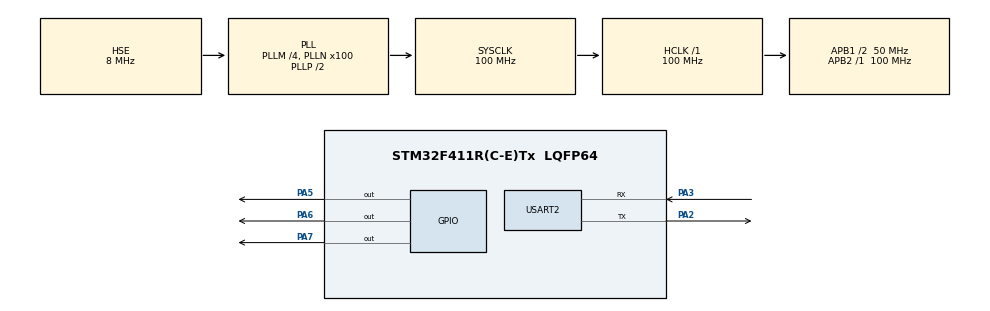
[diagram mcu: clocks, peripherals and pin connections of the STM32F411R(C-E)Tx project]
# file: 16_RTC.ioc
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Mcu.Family=STM32F4
Mcu.Name=STM32F411R(C-E)Tx
Mcu.Package=LQFP64
NVIC.PriorityGroup=NVIC_PRIORITYGROUP_4
PA13.Mode=Serial_Wire
PA13.Signal=SYS_JTMS-SWDIO
PA14.Mode=Serial_Wire
PA14.Signal=SYS_JTCK-SWCLK
PA2.Mode=Asynchronous
PA2.Signal=USART2_TX
PA3.Mode=Asynchronous
PA3.Signal=USART2_RX
PA5.GPIO_Speed=GPIO_SPEED_FREQ_LOW
PA5.Signal=GPIO_Output
PA6.GPIO_Speed=GPIO_SPEED_FREQ_LOW
PA6.Signal=GPIO_Output
PA7.GPIO_Speed=GPIO_SPEED_FREQ_LOW
PA7.Signal=GPIO_Output
PH0\ -\ OSC_IN.Mode=HSE-External-Oscillator
PH0\ -\ OSC_IN.Signal=RCC_OSC_IN
PH1\ -\ OSC_OUT.Mode=HSE-External-Oscillator
PH1\ -\ OSC_OUT.Signal=RCC_OSC_OUT
ProjectManager.HeapSize=0x200
ProjectManager.StackSize=0x400
ProjectManager.TargetToolchain=STM32CubeIDE
RCC.48MHZClocksFreq_Value=50000000
RCC.AHBFreq_Value=100000000
RCC.APB1CLKDivider=RCC_HCLK_DIV2
RCC.APB1Freq_Value=50000000
RCC.APB1TimFreq_Value=100000000
RCC.APB2Freq_Value=100000000
RCC.APB2TimFreq_Value=100000000
RCC.CortexFreq_Value=100000000
RCC.HCLKFreq_Value=100000000
RCC.HSE_VALUE=8000000
RCC.HSI_VALUE=16000000
RCC.LSE_VALUE=32768
RCC.PLLM=4
RCC.PLLN=100
RCC.PLLSourceVirtual=RCC_PLLSOURCE_HSE
RCC.SYSCLKFreq_VALUE=100000000
RCC.SYSCLKSource=RCC_SYSCLKSOURCE_PLLCLK
RCC.VCOOutputFreq_Value=200000000
USART2.VirtualMode=VM_ASYNC
board=custom

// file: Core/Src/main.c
/* USER CODE BEGIN Header */
/**
  ******************************************************************************
  * @file           : main.c
  * @brief          : Main program body
  ******************************************************************************
  * @attention
  *
  * Copyright (c) 2025 STMicroelectronics.
  * All rights reserved.
  *
  * This software is licensed under terms that can be found in the LICENSE file
  * in the root directory of this software component.
  * If no LICENSE file comes with this software, it is provided AS-IS.
  *
  ******************************************************************************
  */
/* USER CODE END Header */
#include "main.h"
#include "usart.h"
#include "gpio.h"

/* USER CODE BEGIN Includes */
#include <stdio.h>
#include "rtc.h"
/* USER CODE END Includes */

/* USER CODE BEGIN PV */
uint8_t rtcValue;
uint8_t rtcSec, rtcMin, rtcHour;
uint8_t rtcDate, rtcMonth, rtcDay, rtcYear;
char* rtcDays[8] = {
		"Day", "Sun", "Mon", "Tue", "Wed", "Thu", "Fri", "Sat"
};
/* USER CODE END PV */

void SystemClock_Config(void);
/* USER CODE BEGIN PFP */
// printf 같은 함수 출력 → UART Redirection
int _write(int file, unsigned char* p, int len) {
    HAL_StatusTypeDef status = HAL_UART_Transmit(&huart2, p, len, 100);
    return (status == HAL_OK ? len : 0);
}

uint8_t bcd2dec(uint8_t bcd) {
    return ((bcd >> 4) * 10) + (bcd & 0x0F);
}
/* USER CODE END PFP */

int main(void)
{

  /* MCU Configuration--------------------------------------------------------*/

  /* Reset of all peripherals, Initializes the Flash interface and the Systick. */
  HAL_Init();

  /* Configure the system clock */
  SystemClock_Config();

  /* Initialize all configured peripherals */
  MX_GPIO_Init();
  MX_USART2_UART_Init();
  /* USER CODE BEGIN 2 */
  // Write Protect Bit Clear
//  HAL_GPIO_WritePin(RTC_RST_PORT, RTC_RST_PIN, GPIO_PIN_SET);
//  HAL_Delay(1);
//  rtcWrite(RTC_CLK_PORT, RTC_CLK_PIN, RTC_DAT_PORT, RTC_DAT_PIN, 0x8E);
//  rtcWrite(RTC_CLK_PORT, RTC_CLK_PIN, RTC_DAT_PORT, RTC_DAT_PIN, 0x00);
//  HAL_GPIO_WritePin(RTC_RST_PORT, RTC_RST_PIN, GPIO_PIN_RESET);
//  HAL_Delay(1);
//
//  // Year, Month, Date, Day, Hour, Minute, Second Setting
//  HAL_GPIO_WritePin(RTC_RST_PORT, RTC_RST_PIN, GPIO_PIN_SET);
//  HAL_Delay(1);
//  rtcWrite(RTC_CLK_PORT, RTC_CLK_PIN, RTC_DAT_PORT, RTC_DAT_PIN, WRITE_SEC);
//  rtcWrite(RTC_CLK_PORT, RTC_CLK_PIN, RTC_DAT_PORT, RTC_DAT_PIN, 0x00);
//  HAL_GPIO_WritePin(RTC_RST_PORT, RTC_RST_PIN, GPIO_PIN_RESET);
//
//  HAL_GPIO_WritePin(RTC_RST_PORT, RTC_RST_PIN, GPIO_PIN_SET);
//  HAL_Delay(1);
//  rtcWrite(RTC_CLK_PORT, RTC_CLK_PIN, RTC_DAT_PORT, RTC_DAT_PIN, WRITE_MIN);
//  rtcWrite(RTC_CLK_PORT, RTC_CLK_PIN, RTC_DAT_PORT, RTC_DAT_PIN, 0x10);
//  HAL_GPIO_WritePin(RTC_RST_PORT, RTC_RST_PIN, GPIO_PIN_RESET);
//
//  HAL_GPIO_WritePin(RTC_RST_PORT, RTC_RST_PIN, GPIO_PIN_SET);
//  HAL_Delay(1);
//  rtcWrite(RTC_CLK_PORT, RTC_CLK_PIN, RTC_DAT_PORT, RTC_DAT_PIN, WRITE_HOUR);
//  rtcWrite(RTC_CLK_PORT, RTC_CLK_PIN, RTC_DAT_PORT, RTC_DAT_PIN, 0x12);
//  HAL_GPIO_WritePin(RTC_RST_PORT, RTC_RST_PIN, GPIO_PIN_RESET);
//
//  HAL_GPIO_WritePin(RTC_RST_PORT, RTC_RST_PIN, GPIO_PIN_SET);
//  HAL_Delay(1);
//  rtcWrite(RTC_CLK_PORT, RTC_CLK_PIN, RTC_DAT_PORT, RTC_DAT_PIN, WRITE_DATE);
//  rtcWrite(RTC_CLK_PORT, RTC_CLK_PIN, RTC_DAT_PORT, RTC_DAT_PIN, 0x18);
//  HAL_GPIO_WritePin(RTC_RST_PORT, RTC_RST_PIN, GPIO_PIN_RESET);
//
//  HAL_GPIO_WritePin(RTC_RST_PORT, RTC_RST_PIN, GPIO_PIN_SET);
//  HAL_Delay(1);
//  rtcWrite(RTC_CLK_PORT, RTC_CLK_PIN, RTC_DAT_PORT, RTC_DAT_PIN, WRITE_MONTH);
//  rtcWrite(RTC_CLK_PORT, RTC_CLK_PIN, RTC_DAT_PORT, RTC_DAT_PIN, 0x09);
//  HAL_GPIO_WritePin(RTC_RST_PORT, RTC_RST_PIN, GPIO_PIN_RESET);
//
//  HAL_GPIO_WritePin(RTC_RST_PORT, RTC_RST_PIN, GPIO_PIN_SET);
//  HAL_Delay(1);
//  rtcWrite(RTC_CLK_PORT, RTC_CLK_PIN, RTC_DAT_PORT, RTC_DAT_PIN, WRITE_DAY);
//  rtcWrite(RTC_CLK_PORT, RTC_CLK_PIN, RTC_DAT_PORT, RTC_DAT_PIN, 0x05);
//  HAL_GPIO_WritePin(RTC_RST_PORT, RTC_RST_PIN, GPIO_PIN_RESET);
//
//  HAL_GPIO_WritePin(RTC_RST_PORT, RTC_RST_PIN, GPIO_PIN_SET);
//  HAL_Delay(1);
//  rtcWrite(RTC_CLK_PORT, RTC_CLK_PIN, RTC_DAT_PORT, RTC_DAT_PIN, WRITE_YEAR);
//  rtcWrite(RTC_CLK_PORT, RTC_CLK_PIN, RTC_DAT_PORT, RTC_DAT_PIN, 0x25);
//  HAL_GPIO_WritePin(RTC_RST_PORT, RTC_RST_PIN, GPIO_PIN_RESET);
  /* USER CODE END 2 */

  /* Infinite loop */
  /* USER CODE BEGIN WHILE */
  while (1)
  {
	  HAL_GPIO_WritePin(RTC_RST_PORT, RTC_RST_PIN, GPIO_PIN_SET);
	  rtcWrite(RTC_CLK_PORT, RTC_CLK_PIN, RTC_DAT_PORT, RTC_DAT_PIN, READ_SEC);
	  rtcValue = rtcRead(RTC_CLK_PORT, RTC_CLK_PIN, RTC_DAT_PORT, RTC_DAT_PIN);
	  rtcSec = bcd2dec(rtcValue);
	  HAL_GPIO_WritePin(RTC_RST_PORT, RTC_RST_PIN, GPIO_PIN_RESET);

	  HAL_GPIO_WritePin(RTC_RST_PORT, RTC_RST_PIN, GPIO_PIN_SET);
	  rtcWrite(RTC_CLK_PORT, RTC_CLK_PIN, RTC_DAT_PORT, RTC_DAT_PIN, READ_MIN);
	  rtcValue = rtcRead(RTC_CLK_PORT, RTC_CLK_PIN, RTC_DAT_PORT, RTC_DAT_PIN);
	  rtcMin = bcd2dec(rtcValue);
	  HAL_GPIO_WritePin(RTC_RST_PORT, RTC_RST_PIN, GPIO_PIN_RESET);

	  HAL_GPIO_WritePin(RTC_RST_PORT, RTC_RST_PIN, GPIO_PIN_SET);
	  rtcWrite(RTC_CLK_PORT, RTC_CLK_PIN, RTC_DAT_PORT, RTC_DAT_PIN, READ_HOUR);
	  rtcValue = rtcRead(RTC_CLK_PORT, RTC_CLK_PIN, RTC_DAT_PORT, RTC_DAT_PIN);
	  rtcHour = bcd2dec(rtcValue);
	  HAL_GPIO_WritePin(RTC_RST_PORT, RTC_RST_PIN, GPIO_PIN_RESET);

	  HAL_GPIO_WritePin(RTC_RST_PORT, RTC_RST_PIN, GPIO_PIN_SET);
	  rtcWrite(RTC_CLK_PORT, RTC_CLK_PIN, RTC_DAT_PORT, RTC_DAT_PIN, READ_DATE);
	  rtcValue = rtcRead(RTC_CLK_PORT, RTC_CLK_PIN, RTC_DAT_PORT, RTC_DAT_PIN);
	  rtcDate = bcd2dec(rtcValue);
	  HAL_GPIO_WritePin(RTC_RST_PORT, RTC_RST_PIN, GPIO_PIN_RESET);

	  HAL_GPIO_WritePin(RTC_RST_PORT, RTC_RST_PIN, GPIO_PIN_SET);
	  rtcWrite(RTC_CLK_PORT, RTC_CLK_PIN, RTC_DAT_PORT, RTC_DAT_PIN, READ_MONTH);
	  rtcValue = rtcRead(RTC_CLK_PORT, RTC_CLK_PIN, RTC_DAT_PORT, RTC_DAT_PIN);
	  rtcMonth = bcd2dec(rtcValue);
	  HAL_GPIO_WritePin(RTC_RST_PORT, RTC_RST_PIN, GPIO_PIN_RESET);

	  HAL_GPIO_WritePin(RTC_RST_PORT, RTC_RST_PIN, GPIO_PIN_SET);
	  rtcWrite(RTC_CLK_PORT, RTC_CLK_PIN, RTC_DAT_PORT, RTC_DAT_PIN, READ_DAY);
	  rtcValue = rtcRead(RTC_CLK_PORT, RTC_CLK_PIN, RTC_DAT_PORT, RTC_DAT_PIN);
	  rtcDay = rtcValue;
	  HAL_GPIO_WritePin(RTC_RST_PORT, RTC_RST_PIN, GPIO_PIN_RESET);

	  HAL_GPIO_WritePin(RTC_RST_PORT, RTC_RST_PIN, GPIO_PIN_SET);
	  rtcWrite(RTC_CLK_PORT, RTC_CLK_PIN, RTC_DAT_PORT, RTC_DAT_PIN, READ_YEAR);
	  rtcValue = rtcRead(RTC_CLK_PORT, RTC_CLK_PIN, RTC_DAT_PORT, RTC_DAT_PIN);
	  rtcYear = bcd2dec(rtcValue);
	  HAL_GPIO_WritePin(RTC_RST_PORT, RTC_RST_PIN, GPIO_PIN_RESET);

	  printf("20%02d-%02d-%02d(%s) %02d:%02d:%02d\r\n",
			  rtcYear, rtcMonth, rtcDate, rtcDays[rtcDay], rtcHour, rtcMin, rtcSec);
	  HAL_Delay(1000);
    /* USER CODE END WHILE */

  }
}

void SystemClock_Config(void)
{
  RCC_OscInitTypeDef RCC_OscInitStruct = {0};
  RCC_ClkInitTypeDef RCC_ClkInitStruct = {0};

  /** Configure the main internal regulator output voltage
  */
  __HAL_RCC_PWR_CLK_ENABLE();
  __HAL_PWR_VOLTAGESCALING_CONFIG(PWR_REGULATOR_VOLTAGE_SCALE1);

  /** Initializes the RCC Oscillators according to the specified parameters
  * in the RCC_OscInitTypeDef structure.
  */
  RCC_OscInitStruct.OscillatorType = RCC_OSCILLATORTYPE_HSE;
  RCC_OscInitStruct.HSEState = RCC_HSE_ON;
  RCC_OscInitStruct.PLL.PLLState = RCC_PLL_ON;
  RCC_OscInitStruct.PLL.PLLSource = RCC_PLLSOURCE_HSE;
  RCC_OscInitStruct.PLL.PLLM = 4;
  RCC_OscInitStruct.PLL.PLLN = 100;
  RCC_OscInitStruct.PLL.PLLP = RCC_PLLP_DIV2;
  RCC_OscInitStruct.PLL.PLLQ = 4;
  if (HAL_RCC_OscConfig(&RCC_OscInitStruct) != HAL_OK)
  {
    Error_Handler();
  }

  /** Initializes the CPU, AHB and APB buses clocks
  */
  RCC_ClkInitStruct.ClockType = RCC_CLOCKTYPE_HCLK|RCC_CLOCKTYPE_SYSCLK
                              |RCC_CLOCKTYPE_PCLK1|RCC_CLOCKTYPE_PCLK2;
  RCC_ClkInitStruct.SYSCLKSource = RCC_SYSCLKSOURCE_PLLCLK;
  RCC_ClkInitStruct.AHBCLKDivider = RCC_SYSCLK_DIV1;
  RCC_ClkInitStruct.APB1CLKDivider = RCC_HCLK_DIV2;
  RCC_ClkInitStruct.APB2CLKDivider = RCC_HCLK_DIV1;

  if (HAL_RCC_ClockConfig(&RCC_ClkInitStruct, FLASH_LATENCY_3) != HAL_OK)
  {
    Error_Handler();
  }
}

void Error_Handler(void)
{
  __disable_irq();
  while (1)
  {
  }
}
